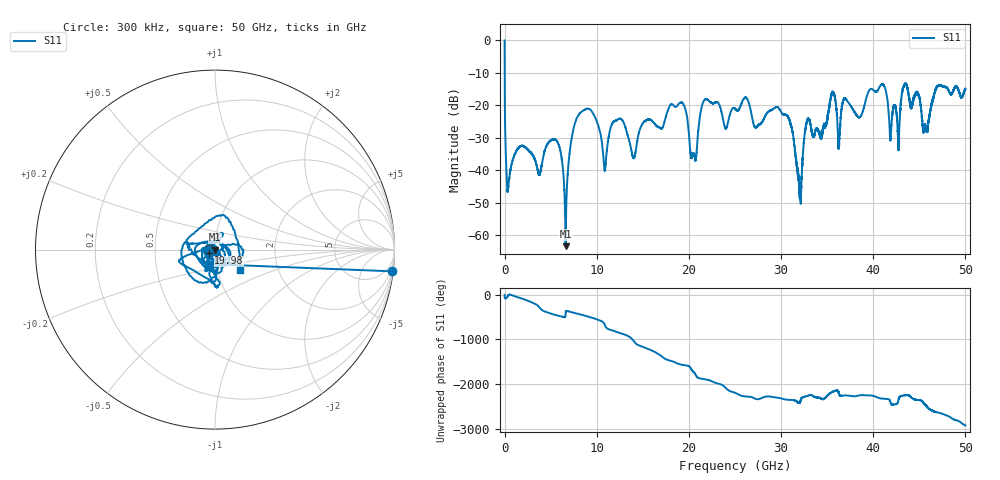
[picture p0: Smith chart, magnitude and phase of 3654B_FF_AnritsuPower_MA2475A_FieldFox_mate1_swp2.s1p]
!Created with skrf (http://scikit-rf.org).
# Hz S RI R 50.0
!freq ReS11 ImS11
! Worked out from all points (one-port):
!   10001 points, 300 kHz to 50 GHz, reference 50 ohm
!   lowest |S11| = -63.4 dB at 6.62 GHz (marker M1), VSWR 1.00, Z = 50 - j0.0622 ohm
!   |S11| at or under -10 dB: 7.706 MHz to end of sweep
!   S11 on the Smith chart (normalised r, x): 300 kHz: 1, -16; 19.98 GHz: 0.93, -0.04; 50 GHz: 1.27, -0.31
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300000  0.9864 -0.1211
4.152975e8  0.00568 -0.000927
1.785289e9  0.003 -0.0233
3.765277e9  0.00186 0.0084
5.455267e9  -0.000877 -0.0301
6.250262e9  -0.00898 -0.00973
6.62026e9  0.000264 -0.000621
8.055252e9  0.0228 -0.0682
9.610242e9  -0.0708 -0.021
1.088023e10  0.00786 0.00615
1.250022e10  -0.045 -0.0427
1.401022e10  0.0113 0.0107
1.509021e10  -0.00407 -0.0546
1.875019e10  -0.0143 -0.098
1.997518e10  -0.035 -0.02
2.055518e10  0.00787 0.0153
2.170017e10  0.00648 -0.121
2.500015e10  0.0766 -0.0455
3.125011e10  -0.0379 0.00937
3.202511e10  -0.00178 0.00414
3.28901e10  -0.00703 -0.0591
3.750008e10  -0.0207 -0.0979
4.101005e10  -0.2005 -0.0632
4.270004e10  -0.0186 0.0209
4.375004e10  0.0162 -0.176
4.565503e10  0.0246 0.0397
4.702002e10  -0.0701 -0.1849
5e10  0.1359 -0.1177
